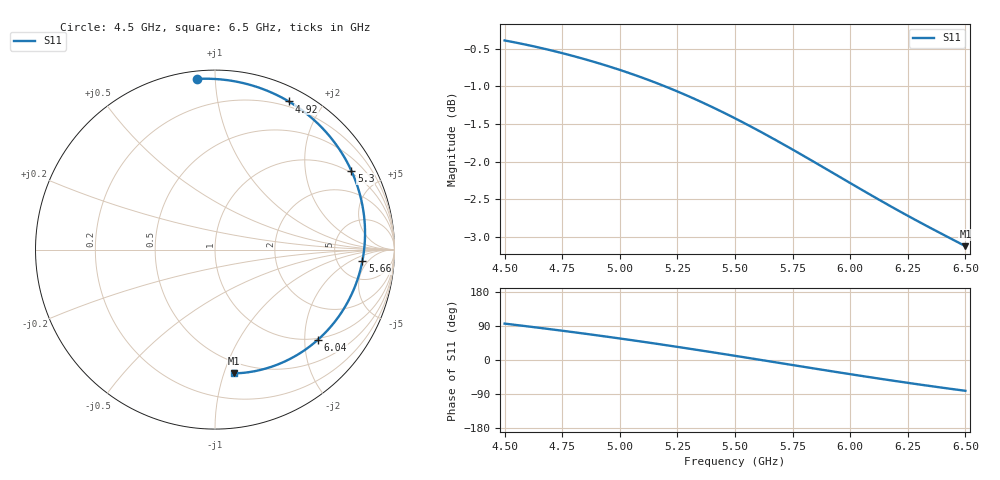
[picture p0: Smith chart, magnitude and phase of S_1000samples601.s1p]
! TOUCHSTONE file generated by CST MICROWAVE STUDIO
! Date and time: Fri Oct 28 17:51:03 2022
! Project name: L.cst
! Parameters = {Di=1.27; Epsilon_r=1.56; InnerDiameter=1.27; Length=2; Lf=10; Lg=60; OuterConductorThickness=0.2921; OuterDiameter=3.6; Wf=3; Wp=41.2; de=1.5; df=6.8; g=0.8; gx=1.44353; gy=4.97313; h=2.34; hf=1.524; px=9.26034; py=9.65083; w=9.7; wx=7.81681; wy=4.67771}
! Header version: 2018
! Port assignment regex: !\s*Touchstone port\s*([0-9]+)\s*=\s*(CST MWS port|CST DS port)\s*([0-9]+|Zmin|Zmax)\s*\(\"(.*)\"\)(\s*mode\s*([0-9]+))?.*
! Touchstone port assignment:
! Touchstone port 1 = CST MWS port 1 ("")
# GHz S DB R 50
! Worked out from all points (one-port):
!   101 points, 4.5 GHz to 6.5 GHz, reference 50 ohm
!   lowest |S11| = -3.1 dB at 6.5 GHz (marker M1), VSWR 5.62, Z = 20.1 - j54.1 ohm
!   |S11| at or under -10 dB: nowhere
!   S11 on the Smith chart (normalised r, x): 4.5 GHz: 0.04, +0.90; 4.92 GHz: 0.15, +1.61; 5.3 GHz: 0.92, +3.51; 5.66 GHz: 8.88, -3.57; 6.04 GHz: 0.97, -2.32; 6.5 GHz: 0.40, -1.08
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4.5  -0.39 96.0
4.58  -0.44 90.2
4.64  -0.48 85.7
4.7  -0.52 81.1
4.76  -0.57 76.5
4.84  -0.63 70.1
4.92  -0.70 63.5
5  -0.78 56.8
5.06  -0.84 51.6
5.12  -0.91 46.4
5.2  -1.01 39.2
5.26  -1.08 33.7
5.3  -1.13 30.0
5.4  -1.27 20.6
5.5  -1.43 11.0
5.58  -1.55 3.3
5.66  -1.69 -4.5
5.76  -1.86 -14.3
5.82  -1.96 -20.1
5.88  -2.07 -25.9
5.94  -2.18 -31.7
6  -2.29 -37.4
6.04  -2.36 -41.1
6.14  -2.53 -50.4
6.2  -2.64 -55.8
6.26  -2.74 -61.1
6.38  -2.93 -71.4
6.5  -3.13 -81.3
